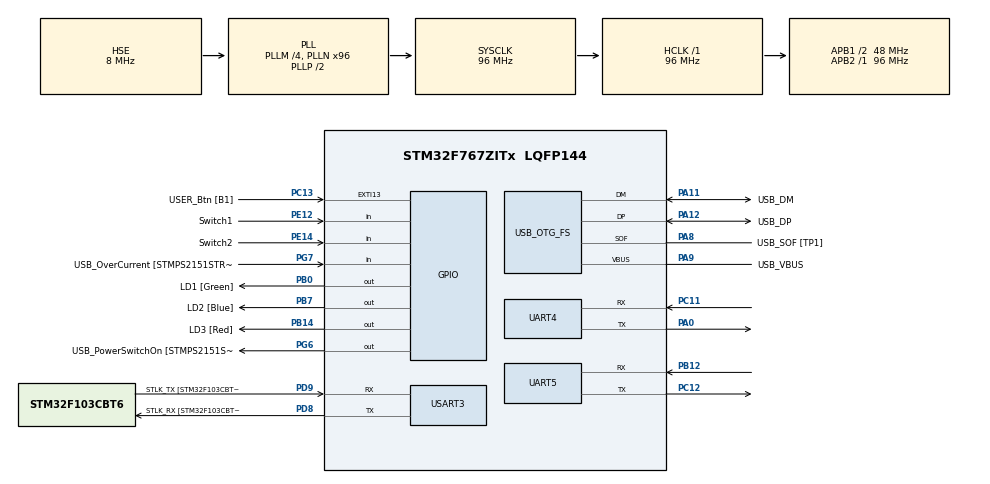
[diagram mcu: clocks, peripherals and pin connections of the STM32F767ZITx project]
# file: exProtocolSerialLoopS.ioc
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Dma.Request0=UART4_RX
Dma.Request1=UART4_TX
Dma.Request2=UART5_RX
Dma.Request3=UART5_TX
Dma.UART4_RX.0.Direction=DMA_PERIPH_TO_MEMORY
Dma.UART4_RX.0.FIFOMode=DMA_FIFOMODE_DISABLE
Dma.UART4_RX.0.Instance=DMA1_Stream2
Dma.UART4_RX.0.MemDataAlignment=DMA_MDATAALIGN_BYTE
Dma.UART4_RX.0.MemInc=DMA_MINC_ENABLE
Dma.UART4_RX.0.Mode=DMA_NORMAL
Dma.UART4_RX.0.PeriphDataAlignment=DMA_PDATAALIGN_BYTE
Dma.UART4_RX.0.PeriphInc=DMA_PINC_DISABLE
Dma.UART4_RX.0.Priority=DMA_PRIORITY_LOW
Dma.UART4_TX.1.Direction=DMA_MEMORY_TO_PERIPH
Dma.UART4_TX.1.FIFOMode=DMA_FIFOMODE_DISABLE
Dma.UART4_TX.1.Instance=DMA1_Stream4
Dma.UART4_TX.1.MemDataAlignment=DMA_MDATAALIGN_BYTE
Dma.UART4_TX.1.MemInc=DMA_MINC_ENABLE
Dma.UART4_TX.1.Mode=DMA_NORMAL
Dma.UART4_TX.1.PeriphDataAlignment=DMA_PDATAALIGN_BYTE
Dma.UART4_TX.1.PeriphInc=DMA_PINC_DISABLE
Dma.UART4_TX.1.Priority=DMA_PRIORITY_LOW
Dma.UART5_RX.2.Direction=DMA_PERIPH_TO_MEMORY
Dma.UART5_RX.2.FIFOMode=DMA_FIFOMODE_DISABLE
Dma.UART5_RX.2.Instance=DMA1_Stream0
Dma.UART5_RX.2.MemDataAlignment=DMA_MDATAALIGN_BYTE
Dma.UART5_RX.2.MemInc=DMA_MINC_ENABLE
Dma.UART5_RX.2.Mode=DMA_NORMAL
Dma.UART5_RX.2.PeriphDataAlignment=DMA_PDATAALIGN_BYTE
Dma.UART5_RX.2.PeriphInc=DMA_PINC_DISABLE
Dma.UART5_RX.2.Priority=DMA_PRIORITY_LOW
Dma.UART5_TX.3.Direction=DMA_MEMORY_TO_PERIPH
Dma.UART5_TX.3.FIFOMode=DMA_FIFOMODE_DISABLE
Dma.UART5_TX.3.Instance=DMA1_Stream7
Dma.UART5_TX.3.MemDataAlignment=DMA_MDATAALIGN_BYTE
Dma.UART5_TX.3.MemInc=DMA_MINC_ENABLE
Dma.UART5_TX.3.Mode=DMA_NORMAL
Dma.UART5_TX.3.PeriphDataAlignment=DMA_PDATAALIGN_BYTE
Dma.UART5_TX.3.PeriphInc=DMA_PINC_DISABLE
Dma.UART5_TX.3.Priority=DMA_PRIORITY_LOW
Mcu.Family=STM32F7
Mcu.Name=STM32F767ZITx
Mcu.Package=LQFP144
NVIC.DMA1_Stream0_IRQn=true\:0\:0\:false\:false\:true\:false\:true\:true
NVIC.DMA1_Stream2_IRQn=true\:0\:0\:false\:false\:true\:false\:true\:true
NVIC.DMA1_Stream4_IRQn=true\:0\:0\:false\:false\:true\:false\:true\:true
NVIC.DMA1_Stream7_IRQn=true\:0\:0\:false\:false\:true\:false\:true\:true
NVIC.PriorityGroup=NVIC_PRIORITYGROUP_4
NVIC.TIM2_IRQn=true\:0\:0\:false\:false\:true\:true\:true\:true
NVIC.UART4_IRQn=true\:0\:0\:false\:false\:true\:true\:true\:true
NVIC.UART5_IRQn=true\:0\:0\:false\:false\:true\:true\:true\:true
NVIC.USART3_IRQn=true\:0\:0\:false\:false\:true\:true\:true\:true
PA0/WKUP.Mode=Asynchronous
PA0/WKUP.Signal=UART4_TX
PA1.GPIO_Label=RMII_REF_CLK [LAN8742A-CZ-TR_REFCLK0]
PA1.Signal=ETH_REF_CLK
PA10.GPIO_Label=USB_ID
PA10.Signal=USB_OTG_FS_ID
PA11.GPIO_Label=USB_DM
PA11.Mode=Device_Only
PA11.Signal=USB_OTG_FS_DM
PA12.GPIO_Label=USB_DP
PA12.Mode=Device_Only
PA12.Signal=USB_OTG_FS_DP
PA13.GPIO_Label=TMS
PA13.Mode=Serial_Wire
PA13.Signal=SYS_JTMS-SWDIO
PA14.GPIO_Label=TCK
PA14.Mode=Serial_Wire
PA14.Signal=SYS_JTCK-SWCLK
PA2.GPIO_Label=RMII_MDIO [LAN8742A-CZ-TR_MDIO]
PA2.Signal=ETH_MDIO
PA7.GPIO_Label=RMII_CRS_DV [LAN8742A-CZ-TR_CRS_DV]
PA7.Signal=ETH_CRS_DV
PA8.GPIO_Label=USB_SOF [TP1]
PA8.Mode=Activate_SOF_FS
PA8.Signal=USB_OTG_FS_SOF
PA9.GPIO_Label=USB_VBUS
PA9.Mode=Activate_VBUS
PA9.Signal=USB_OTG_FS_VBUS
PB0.GPIO_Label=LD1 [Green]
PB0.Signal=GPIO_Output
PB12.Mode=Asynchronous
PB12.Signal=UART5_RX
PB13.GPIO_Label=RMII_TXD1 [LAN8742A-CZ-TR_TXD1]
PB13.Signal=ETH_TXD1
PB14.GPIO_Label=LD3 [Red]
PB14.Signal=GPIO_Output
PB3.GPIO_Label=SWO
PB3.Signal=SYS_JTDO-SWO
PB7.GPIO_Label=LD2 [Blue]
PB7.Signal=GPIO_Output
PC1.GPIO_Label=RMII_MDC [LAN8742A-CZ-TR_MDC]
PC1.Signal=ETH_MDC
PC11.Mode=Asynchronous
PC11.Signal=UART4_RX
PC12.Mode=Asynchronous
PC12.Signal=UART5_TX
PC13.GPIO_Label=USER_Btn [B1]
PC13.Signal=GPXTI13
PC14/OSC32_IN.Mode=LSE-External-Oscillator
PC14/OSC32_IN.Signal=RCC_OSC32_IN
PC15/OSC32_OUT.Mode=LSE-External-Oscillator
PC15/OSC32_OUT.Signal=RCC_OSC32_OUT
PC4.GPIO_Label=RMII_RXD0 [LAN8742A-CZ-TR_RXD0]
PC4.Signal=ETH_RXD0
PC5.GPIO_Label=RMII_RXD1 [LAN8742A-CZ-TR_RXD1]
PC5.Signal=ETH_RXD1
PD8.GPIO_Label=STLK_RX [STM32F103CBT6_PA3]
PD8.Mode=Asynchronous
PD8.Signal=USART3_TX
PD9.GPIO_Label=STLK_TX [STM32F103CBT6_PA2]
PD9.Mode=Asynchronous
PD9.Signal=USART3_RX
PE12.GPIO_Label=Switch1
PE12.GPIO_PuPd=GPIO_PULLUP
PE12.Signal=GPIO_Input
PE14.GPIO_Label=Switch2
PE14.GPIO_PuPd=GPIO_PULLUP
PE14.Signal=GPIO_Input
PG11.GPIO_Label=RMII_TX_EN [LAN8742A-CZ-TR_TXEN]
PG11.Signal=ETH_TX_EN
PG13.GPIO_Label=RMII_TXD0 [LAN8742A-CZ-TR_TXD0]
PG13.Signal=ETH_TXD0
PG6.GPIO_Label=USB_PowerSwitchOn [STMPS2151STR_EN]
PG6.Signal=GPIO_Output
PG7.GPIO_Label=USB_OverCurrent [STMPS2151STR_FAULT]
PG7.Signal=GPIO_Input
PH0/OSC_IN.GPIO_Label=MCO [STM32F103CBT6_PA8]
PH0/OSC_IN.Mode=HSE-External-Clock-Source
PH0/OSC_IN.Signal=RCC_OSC_IN
PH1/OSC_OUT.Mode=HSE-External-Clock-Source
PH1/OSC_OUT.Signal=RCC_OSC_OUT
ProjectManager.HeapSize=0x200
ProjectManager.StackSize=0x400
ProjectManager.TargetToolchain=STM32CubeIDE
RCC.48MHZClocksFreq_Value=24000000
RCC.AHBFreq_Value=96000000
RCC.APB1CLKDivider=RCC_HCLK_DIV2
RCC.APB1Freq_Value=48000000
RCC.APB1TimFreq_Value=96000000
RCC.APB2Freq_Value=96000000
RCC.APB2TimFreq_Value=96000000
RCC.CortexFreq_Value=96000000
RCC.HCLKFreq_Value=96000000
RCC.HSE_VALUE=8000000
RCC.HSI_VALUE=16000000
RCC.PLLM=4
RCC.PLLMUL=RCC_PLL_MUL9
RCC.PLLN=96
RCC.PLLQ=4
RCC.PRESCALERUSB=RCC_USBCLKSOURCE_PLL_DIV1_5
RCC.SYSCLKFreq_VALUE=96000000
RCC.SYSCLKSource=RCC_SYSCLKSOURCE_PLLCLK
RCC.SYSCLKSourceVirtual=RCC_SYSCLKSOURCE_PLLCLK
RCC.USBFreq_Value=48000000
RCC.VCOOutputFreq_Value=192000000
TIM2.Prescaler=96-1
USART3.VirtualMode-Asynchronous=VM_ASYNC
USB_OTG_FS.VirtualMode=Device_Only
VP_TIM2_VS_ClockSourceINT.Mode=Internal
board=NUCLEO-F767ZI

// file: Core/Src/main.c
/* USER CODE BEGIN Header */
/**
  ******************************************************************************
  * @file           : main.c
  * @brief          : Main program body
  ******************************************************************************
  * @attention
  *
  * <h2><center>&copy; Copyright (c) 2021 STMicroelectronics.
  * All rights reserved.</center></h2>
  *
  * This software component is licensed by ST under BSD 3-Clause license,
  * the "License"; You may not use this file except in compliance with the
  * License. You may obtain a copy of the License at:
  *                        opensource.org/licenses/BSD-3-Clause
  *
  ******************************************************************************
  */
/* USER CODE END Header */
#include "main.h"

/* USER CODE BEGIN Includes */
#include "appMain.h"

/* USER CODE END Includes */

/* USER CODE BEGIN PD */
#define TASK_SIZE				6
#define TIMER_1MS_SIZE			7

#define USE_INTERRUPT
//#define USE_DMA

#ifdef USE_INTERRUPT
	#define UART_FRAME_SIZE		1
#endif
#ifdef USE_DMA
	#define UART_FRAME_SIZE		8
#endif

/* USER CODE END PD */

TIM_HandleTypeDef htim2;

UART_HandleTypeDef huart4;
UART_HandleTypeDef huart5;
UART_HandleTypeDef huart3;
DMA_HandleTypeDef hdma_uart4_rx;
DMA_HandleTypeDef hdma_uart4_tx;
DMA_HandleTypeDef hdma_uart5_rx;
DMA_HandleTypeDef hdma_uart5_tx;

PCD_HandleTypeDef hpcd_USB_OTG_FS;

/* USER CODE BEGIN PV */
static PifUart s_uart_log;

static uint8_t s_ucLogRx;
static uint8_t s_ucSerial1Buffer[UART_FRAME_SIZE];
static uint8_t s_ucSerial2Buffer[UART_FRAME_SIZE];

static uint16_t s_usLogTx;
static uint16_t s_usSerial1Tx;
static uint16_t s_usSerial2Tx;

/* USER CODE END PV */

void SystemClock_Config(void);
static void MX_GPIO_Init(void);
static void MX_DMA_Init(void);
static void MX_USART3_UART_Init(void);
static void MX_UART4_Init(void);
static void MX_USB_OTG_FS_PCD_Init(void);
static void MX_UART5_Init(void);
static void MX_TIM2_Init(void);

/* USER CODE BEGIN 0 */
static uint32_t micros()
{
    return htim2.Instance->CNT;
}

static BOOL actLogStartTransfer(PifUart* p_uart)
{
	uint8_t *pucData, ucState;

	s_usLogTx = 0;
	ucState = pifUart_StartGetTxData(p_uart, &pucData, &s_usLogTx);
	if (ucState & PIF_UART_SEND_DATA_STATE_DATA) {
		HAL_UART_Transmit_IT(&huart3, pucData, s_usLogTx);
		return TRUE;
	}
	return FALSE;
}

static void actLedLState(PifId usPifId, uint32_t unState)
{
	(void)usPifId;

	HAL_GPIO_WritePin(LD2_GPIO_Port, LD2_Pin, unState & 1);
}

static uint16_t actPushSwitchAcquire(PifSensor* p_owner)
{
	static GPIO_TypeDef* usPortSwitch[SWITCH_COUNT] = { Switch1_GPIO_Port, Switch2_GPIO_Port };
	static uint16_t usPinSwitch[SWITCH_COUNT] = { Switch1_Pin, Switch2_Pin };
	int index = p_owner->_id - PIF_ID_SWITCH;

	return !HAL_GPIO_ReadPin(usPortSwitch[index], usPinSwitch[index]);
}

static BOOL actUart1StartTransfer(PifUart* p_uart)
{
	uint8_t *pucData, ucState;

	s_usSerial1Tx = UART_FRAME_SIZE;
	ucState = pifUart_StartGetTxData(p_uart, &pucData, &s_usSerial1Tx);
	if (ucState & PIF_UART_SEND_DATA_STATE_DATA) {
#ifdef USE_INTERRUPT
		HAL_UART_Transmit_IT(&huart4, pucData, s_usSerial1Tx);
#endif

#ifdef USE_DMA
		HAL_UART_Transmit_DMA(&huart4, pucData, s_usSerial1Tx);
#endif
		return TRUE;
	}
	return FALSE;
}

static BOOL actUart2StartTransfer(PifUart* p_uart)
{
	uint8_t *pucData, ucState;

	s_usSerial2Tx = UART_FRAME_SIZE;
	ucState = pifUart_StartGetTxData(p_uart, &pucData, &s_usSerial2Tx);
	if (ucState & PIF_UART_SEND_DATA_STATE_DATA) {
#ifdef USE_INTERRUPT
		HAL_UART_Transmit_IT(&huart5, pucData, s_usSerial2Tx);
#endif

#ifdef USE_DMA
		HAL_UART_Transmit_DMA(&huart5, pucData, s_usSerial2Tx);
#endif
		return TRUE;
	}
	return FALSE;
}

void HAL_UART_TxCpltCallback(UART_HandleTypeDef *huart)
{
	uint8_t *pucData, ucState;

	if (huart->Instance == USART3) {
		ucState = pifUart_EndGetTxData(&s_uart_log, s_usLogTx);
		if (!(ucState & PIF_UART_SEND_DATA_STATE_EMPTY)) {
			s_usLogTx = 0;
			ucState = pifUart_StartGetTxData(&s_uart_log, &pucData, &s_usLogTx);
			if (ucState & PIF_UART_SEND_DATA_STATE_DATA) {
				HAL_UART_Transmit_IT(huart, pucData, s_usLogTx);
			}
		}
	}
	else if (huart->Instance == UART4) {
		ucState = pifUart_EndGetTxData(&g_serial1, s_usSerial1Tx);
		if (!(ucState & PIF_UART_SEND_DATA_STATE_EMPTY)) {
			s_usSerial1Tx = UART_FRAME_SIZE;
			ucState = pifUart_StartGetTxData(&g_serial1, &pucData, &s_usSerial1Tx);
			if (ucState & 1) {
#ifdef USE_INTERRUPT
				HAL_UART_Transmit_IT(huart, pucData, s_usSerial1Tx);
#endif

#ifdef USE_DMA
				HAL_UART_Transmit_DMA(huart, pucData, s_usSerial1Tx);
#endif
			}
		}
	}
	else if (huart->Instance == UART5) {
		ucState = pifUart_EndGetTxData(&g_serial2, s_usSerial2Tx);
		if (!(ucState & PIF_UART_SEND_DATA_STATE_EMPTY)) {
			s_usSerial2Tx = UART_FRAME_SIZE;
			ucState = pifUart_StartGetTxData(&g_serial2, &pucData, &s_usSerial2Tx);
			if (ucState & 1) {
#ifdef USE_INTERRUPT
				HAL_UART_Transmit_IT(huart, pucData, s_usSerial2Tx);
#endif

#ifdef USE_DMA
				HAL_UART_Transmit_DMA(huart, pucData, s_usSerial2Tx);
#endif
			}
		}
	}
}

void HAL_UART_RxCpltCallback(UART_HandleTypeDef *huart)
{
	if (huart->Instance == USART3) {
		pifUart_PutRxByte(&s_uart_log, s_ucLogRx);
		HAL_UART_Receive_IT(huart, &s_ucLogRx, 1);
	}
	else if (huart->Instance == UART4) {
		pifUart_PutRxData(&g_serial1, s_ucSerial1Buffer, UART_FRAME_SIZE);

#ifdef USE_INTERRUPT
		HAL_UART_Receive_IT(huart, s_ucSerial1Buffer, 1);
#endif
#ifdef USE_DMA
		HAL_UART_Receive_DMA(huart, s_ucSerial1Buffer, UART_FRAME_SIZE);
#endif
	}
	else if (huart->Instance == UART5) {
		pifUart_PutRxData(&g_serial2, s_ucSerial2Buffer, UART_FRAME_SIZE);

#ifdef USE_INTERRUPT
		HAL_UART_Receive_IT(huart, s_ucSerial2Buffer, 1);
#endif
#ifdef USE_DMA
		HAL_UART_Receive_DMA(huart, s_ucSerial2Buffer, UART_FRAME_SIZE);
#endif
	}
}

/* USER CODE END 0 */

int main(void)
{

  /* MCU Configuration--------------------------------------------------------*/

  /* Reset of all peripherals, Initializes the Flash interface and the Systick. */
  HAL_Init();

  /* Configure the system clock */
  SystemClock_Config();

  /* Initialize all configured peripherals */
  MX_GPIO_Init();
  MX_DMA_Init();
  MX_USART3_UART_Init();
  MX_UART4_Init();
  MX_USB_OTG_FS_PCD_Init();
  MX_UART5_Init();
  MX_TIM2_Init();
  /* USER CODE BEGIN 2 */
  HAL_TIM_IC_Start_IT(&htim2, TIM_CHANNEL_1);

  pif_Init(micros);

  if (!pifTaskManager_Init(TASK_SIZE)) return -1;

  if (!pifTimerManager_Init(&g_timer_1ms, PIF_ID_AUTO, 1000, TIMER_1MS_SIZE)) return -1;		// 1000us

  if (!pifUart_Init(&s_uart_log, PIF_ID_AUTO, huart3.Init.BaudRate)) return -1;
  if (!pifUart_AttachTask(&s_uart_log, TM_PERIOD, 1000, "UartLog")) return -1;					// 1ms
  if (!pifUart_AllocTxBuffer(&s_uart_log, 64)) return -1;
  s_uart_log.act_start_transfer = actLogStartTransfer;

  HAL_UART_Receive_IT(&huart3, &s_ucLogRx, 1);

  pifLog_Init();
  if (!pifLog_AttachUart(&s_uart_log)) return -1;

  if (!pifLed_Init(&g_led_l, PIF_ID_AUTO, &g_timer_1ms, 1, actLedLState)) return -1;

  for (int i = 0; i < SWITCH_COUNT; i++) {
    if (!pifSensorSwitch_Init(&g_stProtocolTest[i].stPushSwitch, PIF_ID_SWITCH + i, 0, actPushSwitchAcquire)) return FALSE;
  }

  if (!pifUart_Init(&g_serial1, PIF_ID_AUTO, huart4.Init.BaudRate)) return -1;
  if (!pifUart_AttachTask(&g_serial1, TM_PERIOD, 1000, "UartSerial1")) return -1;				// 1ms
  if (!pifUart_AllocRxBuffer(&g_serial1, 64, 10)) return -1;									// 10%
  if (!pifUart_AllocTxBuffer(&g_serial1, 64)) return -1;
  g_serial1.act_start_transfer = actUart1StartTransfer;

#ifdef USE_INTERRUPT
  HAL_UART_Receive_IT(&huart4, s_ucSerial1Buffer, UART_FRAME_SIZE);
#endif
#ifdef USE_DMA
  if (!pifUart_SetFrameSize(&g_serial1, UART_FRAME_SIZE)) return -1;

  HAL_UART_Receive_DMA(&huart4, s_ucSerial1Buffer, UART_FRAME_SIZE);
#endif

  if (!pifUart_Init(&g_serial2, PIF_ID_AUTO, huart5.Init.BaudRate)) return -1;
  if (!pifUart_AttachTask(&g_serial2, TM_PERIOD, 1000, "UartSerial2")) return -1;				// 1ms
  if (!pifUart_AllocRxBuffer(&g_serial2, 64, 10)) return -1;									// 10%
  if (!pifUart_AllocTxBuffer(&g_serial2, 64)) return -1;
  g_serial2.act_start_transfer = actUart2StartTransfer;

#ifdef USE_INTERRUPT
  HAL_UART_Receive_IT(&huart5, s_ucSerial1Buffer, UART_FRAME_SIZE);
#endif
#ifdef USE_DMA
  if (!pifUart_SetFrameSize(&g_serial2, UART_FRAME_SIZE)) return -1;

  HAL_UART_Receive_DMA(&huart5, s_ucSerial2Buffer, UART_FRAME_SIZE);
#endif

  if (!appSetup()) return -1;

	pifLog_Print(LT_NONE, "\n\n****************************************\n");
	pifLog_Print(LT_NONE, "***       exProtocolSerialLoopS      ***\n");
	pifLog_Printf(LT_NONE, "***       %s %s       ***\n", __DATE__, __TIME__);
	pifLog_Print(LT_NONE, "****************************************\n");
  pifLog_Printf(LT_INFO, "Task=%d/%d Timer=%d/%d\n", pifTaskManager_Count(), TASK_SIZE, pifTimerManager_Count(&g_timer_1ms), TIMER_1MS_SIZE);

  /* USER CODE END 2 */

  /* Infinite loop */
  /* USER CODE BEGIN WHILE */
  while (1)
  {
	pifTaskManager_Loop();
    /* USER CODE END WHILE */

  }
}

void SystemClock_Config(void)
{
  RCC_OscInitTypeDef RCC_OscInitStruct = {0};
  RCC_ClkInitTypeDef RCC_ClkInitStruct = {0};

  /** Configure LSE Drive Capability
  */
  HAL_PWR_EnableBkUpAccess();

  /** Configure the main internal regulator output voltage
  */
  __HAL_RCC_PWR_CLK_ENABLE();
  __HAL_PWR_VOLTAGESCALING_CONFIG(PWR_REGULATOR_VOLTAGE_SCALE3);

  /** Initializes the RCC Oscillators according to the specified parameters
  * in the RCC_OscInitTypeDef structure.
  */
  RCC_OscInitStruct.OscillatorType = RCC_OSCILLATORTYPE_HSE;
  RCC_OscInitStruct.HSEState = RCC_HSE_BYPASS;
  RCC_OscInitStruct.PLL.PLLState = RCC_PLL_ON;
  RCC_OscInitStruct.PLL.PLLSource = RCC_PLLSOURCE_HSE;
  RCC_OscInitStruct.PLL.PLLM = 4;
  RCC_OscInitStruct.PLL.PLLN = 96;
  RCC_OscInitStruct.PLL.PLLP = RCC_PLLP_DIV2;
  RCC_OscInitStruct.PLL.PLLQ = 4;
  RCC_OscInitStruct.PLL.PLLR = 2;
  if (HAL_RCC_OscConfig(&RCC_OscInitStruct) != HAL_OK)
  {
    Error_Handler();
  }

  /** Activate the Over-Drive mode
  */
  if (HAL_PWREx_EnableOverDrive() != HAL_OK)
  {
    Error_Handler();
  }

  /** Initializes the CPU, AHB and APB buses clocks
  */
  RCC_ClkInitStruct.ClockType = RCC_CLOCKTYPE_HCLK|RCC_CLOCKTYPE_SYSCLK
                              |RCC_CLOCKTYPE_PCLK1|RCC_CLOCKTYPE_PCLK2;
  RCC_ClkInitStruct.SYSCLKSource = RCC_SYSCLKSOURCE_PLLCLK;
  RCC_ClkInitStruct.AHBCLKDivider = RCC_SYSCLK_DIV1;
  RCC_ClkInitStruct.APB1CLKDivider = RCC_HCLK_DIV2;
  RCC_ClkInitStruct.APB2CLKDivider = RCC_HCLK_DIV1;

  if (HAL_RCC_ClockConfig(&RCC_ClkInitStruct, FLASH_LATENCY_3) != HAL_OK)
  {
    Error_Handler();
  }
}

static void MX_TIM2_Init(void)
{

  TIM_ClockConfigTypeDef sClockSourceConfig = {0};
  TIM_MasterConfigTypeDef sMasterConfig = {0};

  htim2.Instance = TIM2;
  htim2.Init.Prescaler = 96-1;
  htim2.Init.CounterMode = TIM_COUNTERMODE_UP;
  htim2.Init.Period = 4294967295;
  htim2.Init.ClockDivision = TIM_CLOCKDIVISION_DIV1;
  htim2.Init.AutoReloadPreload = TIM_AUTORELOAD_PRELOAD_DISABLE;
  if (HAL_TIM_Base_Init(&htim2) != HAL_OK)
  {
    Error_Handler();
  }
  sClockSourceConfig.ClockSource = TIM_CLOCKSOURCE_INTERNAL;
  if (HAL_TIM_ConfigClockSource(&htim2, &sClockSourceConfig) != HAL_OK)
  {
    Error_Handler();
  }
  sMasterConfig.MasterOutputTrigger = TIM_TRGO_RESET;
  sMasterConfig.MasterSlaveMode = TIM_MASTERSLAVEMODE_DISABLE;
  if (HAL_TIMEx_MasterConfigSynchronization(&htim2, &sMasterConfig) != HAL_OK)
  {
    Error_Handler();
  }

}

static void MX_UART4_Init(void)
{

  huart4.Instance = UART4;
  huart4.Init.BaudRate = 115200;
  huart4.Init.WordLength = UART_WORDLENGTH_8B;
  huart4.Init.StopBits = UART_STOPBITS_1;
  huart4.Init.Parity = UART_PARITY_NONE;
  huart4.Init.Mode = UART_MODE_TX_RX;
  huart4.Init.HwFlowCtl = UART_HWCONTROL_NONE;
  huart4.Init.OverSampling = UART_OVERSAMPLING_16;
  huart4.Init.OneBitSampling = UART_ONE_BIT_SAMPLE_DISABLE;
  huart4.AdvancedInit.AdvFeatureInit = UART_ADVFEATURE_NO_INIT;
  if (HAL_UART_Init(&huart4) != HAL_OK)
  {
    Error_Handler();
  }

}

static void MX_UART5_Init(void)
{

  huart5.Instance = UART5;
  huart5.Init.BaudRate = 115200;
  huart5.Init.WordLength = UART_WORDLENGTH_8B;
  huart5.Init.StopBits = UART_STOPBITS_1;
  huart5.Init.Parity = UART_PARITY_NONE;
  huart5.Init.Mode = UART_MODE_TX_RX;
  huart5.Init.HwFlowCtl = UART_HWCONTROL_NONE;
  huart5.Init.OverSampling = UART_OVERSAMPLING_16;
  huart5.Init.OneBitSampling = UART_ONE_BIT_SAMPLE_DISABLE;
  huart5.AdvancedInit.AdvFeatureInit = UART_ADVFEATURE_NO_INIT;
  if (HAL_UART_Init(&huart5) != HAL_OK)
  {
    Error_Handler();
  }

}

static void MX_USART3_UART_Init(void)
{

  huart3.Instance = USART3;
  huart3.Init.BaudRate = 115200;
  huart3.Init.WordLength = UART_WORDLENGTH_8B;
  huart3.Init.StopBits = UART_STOPBITS_1;
  huart3.Init.Parity = UART_PARITY_NONE;
  huart3.Init.Mode = UART_MODE_TX_RX;
  huart3.Init.HwFlowCtl = UART_HWCONTROL_NONE;
  huart3.Init.OverSampling = UART_OVERSAMPLING_16;
  huart3.Init.OneBitSampling = UART_ONE_BIT_SAMPLE_DISABLE;
  huart3.AdvancedInit.AdvFeatureInit = UART_ADVFEATURE_NO_INIT;
  if (HAL_UART_Init(&huart3) != HAL_OK)
  {
    Error_Handler();
  }

}

static void MX_USB_OTG_FS_PCD_Init(void)
{

  hpcd_USB_OTG_FS.Instance = USB_OTG_FS;
  hpcd_USB_OTG_FS.Init.dev_endpoints = 6;
  hpcd_USB_OTG_FS.Init.speed = PCD_SPEED_FULL;
  hpcd_USB_OTG_FS.Init.dma_enable = DISABLE;
  hpcd_USB_OTG_FS.Init.phy_itface = PCD_PHY_EMBEDDED;
  hpcd_USB_OTG_FS.Init.Sof_enable = ENABLE;
  hpcd_USB_OTG_FS.Init.low_power_enable = DISABLE;
  hpcd_USB_OTG_FS.Init.lpm_enable = DISABLE;
  hpcd_USB_OTG_FS.Init.vbus_sensing_enable = ENABLE;
  hpcd_USB_OTG_FS.Init.use_dedicated_ep1 = DISABLE;
  if (HAL_PCD_Init(&hpcd_USB_OTG_FS) != HAL_OK)
  {
    Error_Handler();
  }

}

static void MX_DMA_Init(void)
{

  /* DMA controller clock enable */
  __HAL_RCC_DMA1_CLK_ENABLE();

  /* DMA interrupt init */
  /* DMA1_Stream0_IRQn interrupt configuration */
  HAL_NVIC_SetPriority(DMA1_Stream0_IRQn, 0, 0);
  HAL_NVIC_EnableIRQ(DMA1_Stream0_IRQn);
  /* DMA1_Stream2_IRQn interrupt configuration */
  HAL_NVIC_SetPriority(DMA1_Stream2_IRQn, 0, 0);
  HAL_NVIC_EnableIRQ(DMA1_Stream2_IRQn);
  /* DMA1_Stream4_IRQn interrupt configuration */
  HAL_NVIC_SetPriority(DMA1_Stream4_IRQn, 0, 0);
  HAL_NVIC_EnableIRQ(DMA1_Stream4_IRQn);
  /* DMA1_Stream7_IRQn interrupt configuration */
  HAL_NVIC_SetPriority(DMA1_Stream7_IRQn, 0, 0);
  HAL_NVIC_EnableIRQ(DMA1_Stream7_IRQn);

}

static void MX_GPIO_Init(void)
{
  GPIO_InitTypeDef GPIO_InitStruct = {0};

  /* GPIO Ports Clock Enable */
  __HAL_RCC_GPIOC_CLK_ENABLE();
  __HAL_RCC_GPIOH_CLK_ENABLE();
  __HAL_RCC_GPIOA_CLK_ENABLE();
  __HAL_RCC_GPIOB_CLK_ENABLE();
  __HAL_RCC_GPIOE_CLK_ENABLE();
  __HAL_RCC_GPIOD_CLK_ENABLE();
  __HAL_RCC_GPIOG_CLK_ENABLE();

  /*Configure GPIO pin Output Level */
  HAL_GPIO_WritePin(GPIOB, LD1_Pin|LD3_Pin|LD2_Pin, GPIO_PIN_RESET);

  /*Configure GPIO pin Output Level */
  HAL_GPIO_WritePin(USB_PowerSwitchOn_GPIO_Port, USB_PowerSwitchOn_Pin, GPIO_PIN_RESET);

  /*Configure GPIO pin : USER_Btn_Pin */
  GPIO_InitStruct.Pin = USER_Btn_Pin;
  GPIO_InitStruct.Mode = GPIO_MODE_IT_RISING;
  GPIO_InitStruct.Pull = GPIO_NOPULL;
  HAL_GPIO_Init(USER_Btn_GPIO_Port, &GPIO_InitStruct);

  /*Configure GPIO pins : RMII_MDC_Pin RMII_RXD0_Pin RMII_RXD1_Pin */
  GPIO_InitStruct.Pin = RMII_MDC_Pin|RMII_RXD0_Pin|RMII_RXD1_Pin;
  GPIO_InitStruct.Mode = GPIO_MODE_AF_PP;
  GPIO_InitStruct.Pull = GPIO_NOPULL;
  GPIO_InitStruct.Speed = GPIO_SPEED_FREQ_VERY_HIGH;
  GPIO_InitStruct.Alternate = GPIO_AF11_ETH;
  HAL_GPIO_Init(GPIOC, &GPIO_InitStruct);

  /*Configure GPIO pins : RMII_REF_CLK_Pin RMII_MDIO_Pin RMII_CRS_DV_Pin */
  GPIO_InitStruct.Pin = RMII_REF_CLK_Pin|RMII_MDIO_Pin|RMII_CRS_DV_Pin;
  GPIO_InitStruct.Mode = GPIO_MODE_AF_PP;
  GPIO_InitStruct.Pull = GPIO_NOPULL;
  GPIO_InitStruct.Speed = GPIO_SPEED_FREQ_VERY_HIGH;
  GPIO_InitStruct.Alternate = GPIO_AF11_ETH;
  HAL_GPIO_Init(GPIOA, &GPIO_InitStruct);

  /*Configure GPIO pins : LD1_Pin LD3_Pin LD2_Pin */
  GPIO_InitStruct.Pin = LD1_Pin|LD3_Pin|LD2_Pin;
  GPIO_InitStruct.Mode = GPIO_MODE_OUTPUT_PP;
  GPIO_InitStruct.Pull = GPIO_NOPULL;
  GPIO_InitStruct.Speed = GPIO_SPEED_FREQ_LOW;
  HAL_GPIO_Init(GPIOB, &GPIO_InitStruct);

  /*Configure GPIO pins : Switch1_Pin Switch2_Pin */
  GPIO_InitStruct.Pin = Switch1_Pin|Switch2_Pin;
  GPIO_InitStruct.Mode = GPIO_MODE_INPUT;
  GPIO_InitStruct.Pull = GPIO_PULLUP;
  HAL_GPIO_Init(GPIOE, &GPIO_InitStruct);

  /*Configure GPIO pin : RMII_TXD1_Pin */
  GPIO_InitStruct.Pin = RMII_TXD1_Pin;
  GPIO_InitStruct.Mode = GPIO_MODE_AF_PP;
  GPIO_InitStruct.Pull = GPIO_NOPULL;
  GPIO_InitStruct.Speed = GPIO_SPEED_FREQ_VERY_HIGH;
  GPIO_InitStruct.Alternate = GPIO_AF11_ETH;
  HAL_GPIO_Init(RMII_TXD1_GPIO_Port, &GPIO_InitStruct);

  /*Configure GPIO pin : USB_PowerSwitchOn_Pin */
  GPIO_InitStruct.Pin = USB_PowerSwitchOn_Pin;
  GPIO_InitStruct.Mode = GPIO_MODE_OUTPUT_PP;
  GPIO_InitStruct.Pull = GPIO_NOPULL;
  GPIO_InitStruct.Speed = GPIO_SPEED_FREQ_LOW;
  HAL_GPIO_Init(USB_PowerSwitchOn_GPIO_Port, &GPIO_InitStruct);

  /*Configure GPIO pin : USB_OverCurrent_Pin */
  GPIO_InitStruct.Pin = USB_OverCurrent_Pin;
  GPIO_InitStruct.Mode = GPIO_MODE_INPUT;
  GPIO_InitStruct.Pull = GPIO_NOPULL;
  HAL_GPIO_Init(USB_OverCurrent_GPIO_Port, &GPIO_InitStruct);

  /*Configure GPIO pins : RMII_TX_EN_Pin RMII_TXD0_Pin */
  GPIO_InitStruct.Pin = RMII_TX_EN_Pin|RMII_TXD0_Pin;
  GPIO_InitStruct.Mode = GPIO_MODE_AF_PP;
  GPIO_InitStruct.Pull = GPIO_NOPULL;
  GPIO_InitStruct.Speed = GPIO_SPEED_FREQ_VERY_HIGH;
  GPIO_InitStruct.Alternate = GPIO_AF11_ETH;
  HAL_GPIO_Init(GPIOG, &GPIO_InitStruct);

}

void Error_Handler(void)
{
  __disable_irq();
  while (1)
  {
  }
}
